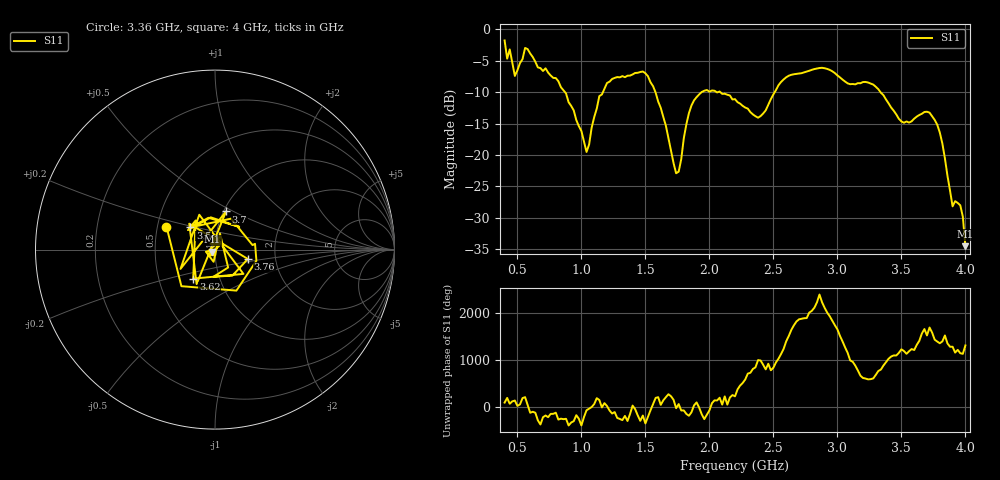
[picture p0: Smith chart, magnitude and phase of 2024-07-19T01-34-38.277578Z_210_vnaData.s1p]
!Created with skrf (http://scikit-rf.org).
# Hz S RI R 50.0
!freq ReS11 ImS11
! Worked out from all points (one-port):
!   181 points, 400 MHz to 4 GHz, reference 50 ohm
!   lowest |S11| = -34.5 dB at 4 GHz (marker M1), VSWR 1.04, Z = 48.6 - j1.19 ohm
!   |S11| at or under -10 dB: 1.579 GHz to 1.938 GHz (359.1 MHz wide, 20.4 % of centre); 2.086 GHz to 2.51 GHz (423.7 MHz wide, 18.4 % of centre); 3.337 GHz to end of sweep (the widest 3 of 5)
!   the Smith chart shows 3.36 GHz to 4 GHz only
!   S11 on the Smith chart (normalised r, x): 3.36 GHz: 0.56, +0.16; 3.5 GHz: 0.74, +0.19; 3.62 GHz: 0.75, -0.25; 3.7 GHz: 1.03, +0.46; 3.76 GHz: 1.44, -0.16; 4 GHz: 0.97, -0.02
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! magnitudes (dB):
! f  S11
! 400 MHz  -1.8
! 480 MHz  -7.4
! 560 MHz  -2.9
! 860 MHz  -9.7
! 1.04 GHz  -19.5
! 1.14 GHz  -10.6
! 1.3 GHz  -7.6
! 1.52 GHz  -7.5
! 1.74 GHz  -22.9
! 1.76 GHz  -22.6
! 1.82 GHz  -15.1
! 1.88 GHz  -11.3
! 1.98 GHz  -9.6
! 2.2 GHz  -11.1
! 2.38 GHz  -14.1
! 2.66 GHz  -7.1
! 2.9 GHz  -6.2
! 3.1 GHz  -8.7
! 3.36 GHz  -10.5
! 3.5 GHz  -14.6
! 3.56 GHz  -14.8
! 3.62 GHz  -13.9
! 3.7 GHz  -13.1
! 3.76 GHz  -14.4
! 3.82 GHz  -18.2
! 3.9 GHz  -28.2
! 3.96 GHz  -28.0
! 4 GHz  -34.5
